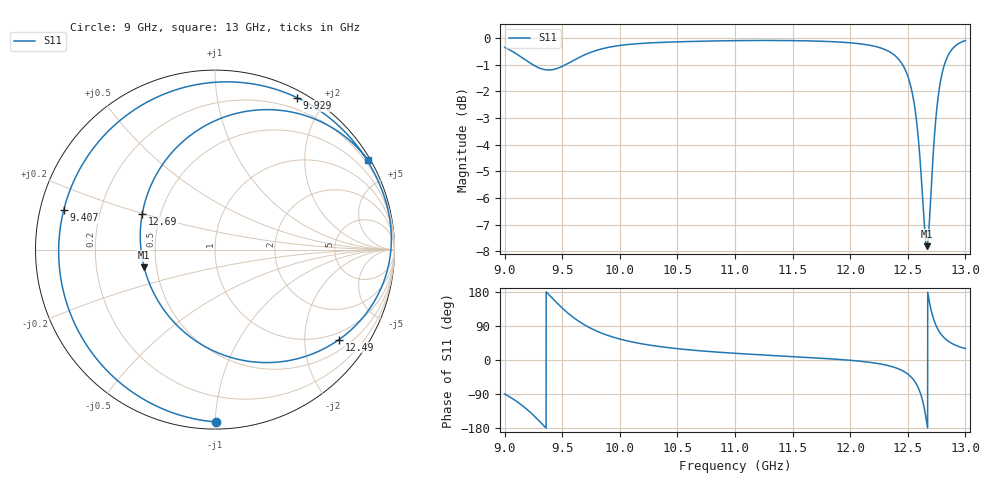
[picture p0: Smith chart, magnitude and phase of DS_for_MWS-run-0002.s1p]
! TOUCHSTONE file generated by CST DESIGN STUDIO
! Date and time: Tue Feb  4 15:44:53 2025
! Project name: C:\Work\MatlabApps\UnitCellOptimizationMatlab\CST\unitcell.cst
! Tree item: Tasks\Sweep1\SPara1\S-Parameters
! Header version: 2024
! Port assignment regex: !\s*Touchstone port\s*([0-9]+)\s*=\s*(CST MWS port|CST DES external port|CST DES block port)\s*(.+)\s* \(\"(.*)\"\)(\s*mode\s*([0-9]+))?.*
! Touchstone port assignment:
! Touchstone port 1 = CST DES external port 1 ("")
# GHz S MA R 50
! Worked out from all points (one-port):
!   4001 points, 9 GHz to 13 GHz, reference 50 ohm
!   lowest |S11| = -7.8 dB at 12.66 GHz (marker M1), VSWR 2.37, Z = 21.3 - j5.02 ohm
!   |S11| at or under -10 dB: nowhere
!   S11 on the Smith chart (normalised r, x): 9 GHz: 0.04, -1.00; 9.407 GHz: 0.07, +0.13; 9.929 GHz: 0.07, +1.68; 12.49 GHz: 0.78, -2.89; 12.69 GHz: 0.40, +0.19; 13 GHz: 0.08, +3.71
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9  0.9602 -89.7
9.103  0.9331 -108.9
9.194  0.9053 -130.3
9.308  0.8768 -163.3
9.407  0.8712 165.2
9.5  0.8843 137.2
9.583  0.9037 115.6
9.672  0.9247 96.6
9.797  0.9474 76.6
9.929  0.9624 61.6
10  0.9678 55.3
10.214  0.9772 41.5
10.5  0.9831 29.9
11  0.9881 17.7
11.5  0.9883 9.0
12  0.9789 -0.8
12.337  0.9428 -15.3
12.495  0.8536 -36.0
12.5  0.8477 -37.1
12.552  0.7609 -53.1
12.6  0.6164 -79.8
12.632  0.4862 -111.8
12.665  0.4069 -166.0
12.687  0.4508 154.2
12.729  0.6445 103.4
12.773  0.8024 75.0
12.865  0.9393 46.8
13  0.9886 30.1
